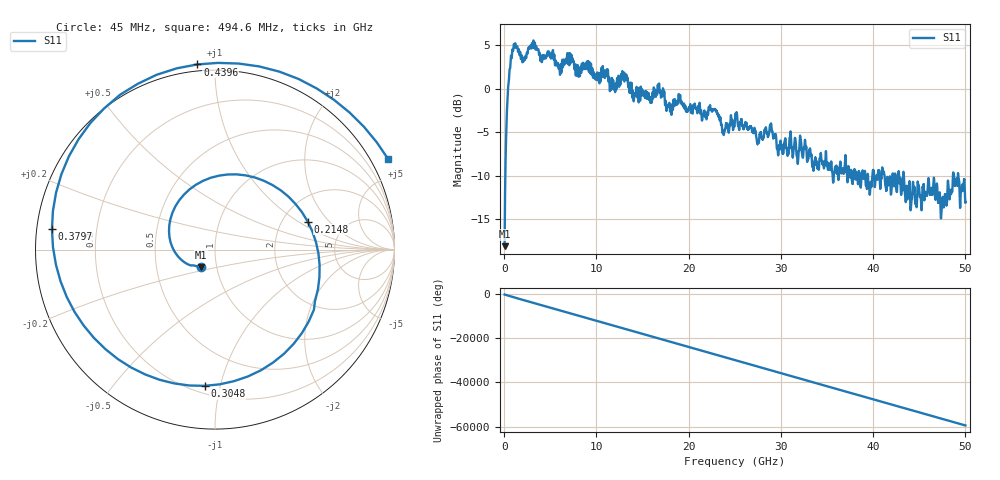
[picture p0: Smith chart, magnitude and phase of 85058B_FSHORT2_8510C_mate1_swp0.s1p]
!Created with skrf (http://scikit-rf.org).
# Hz S RI R 50.0
!freq ReS11 ImS11
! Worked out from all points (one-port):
!   10001 points, 45 MHz to 50 GHz, reference 50 ohm
!   lowest |S11| = -18.1 dB at 45 MHz (marker M1), VSWR 1.28, Z = 42.1 - j8.31 ohm
!   |S11| at or under -10 dB: 41.23 GHz to 42.09 GHz (852.4 MHz wide, 2.05 % of centre); 43.33 GHz to 48.65 GHz (5.325 GHz wide, 11.6 % of centre); 49.24 GHz to end of sweep (the widest 3 of 25)
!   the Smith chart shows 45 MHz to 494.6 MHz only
!   S11 on the Smith chart (normalised r, x): 45 MHz: 0.84, -0.17; 214.8 MHz: 2.75, +1.21; 304.8 MHz: 0.25, -0.90; 379.7 MHz: 0.04, +0.06; 439.6 MHz: -0.03, +0.91; 494.6 MHz: -0.73, +3.96
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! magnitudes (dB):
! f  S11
! 45 MHz  -18.1
! 214.8 MHz  -5.4
! 304.8 MHz  -2.4
! 379.7 MHz  -0.8
! 439.6 MHz  0.3
! 494.6 MHz  0.7
! 814.3 MHz  3.5
! 1.209 GHz  5.2
! 2.028 GHz  3.4
! 3.107 GHz  4.8
! 6.289 GHz  3.3
! 7.204 GHz  3.0
! 7.978 GHz  2.7
! 12.53 GHz  1.4
! 14.08 GHz  -1.0
! 18.78 GHz  -1.4
! 22.81 GHz  -2.4
! 23.76 GHz  -5.1
! 25.02 GHz  -3.5
! 31.27 GHz  -7.8
! 37.51 GHz  -10.2
! 39.45 GHz  -10.3
! 41.06 GHz  -9.8
! 43.76 GHz  -12.3
! 46.72 GHz  -12.6
! 47.51 GHz  -12.7
! 48.87 GHz  -11.2
! 50 GHz  -13.1
